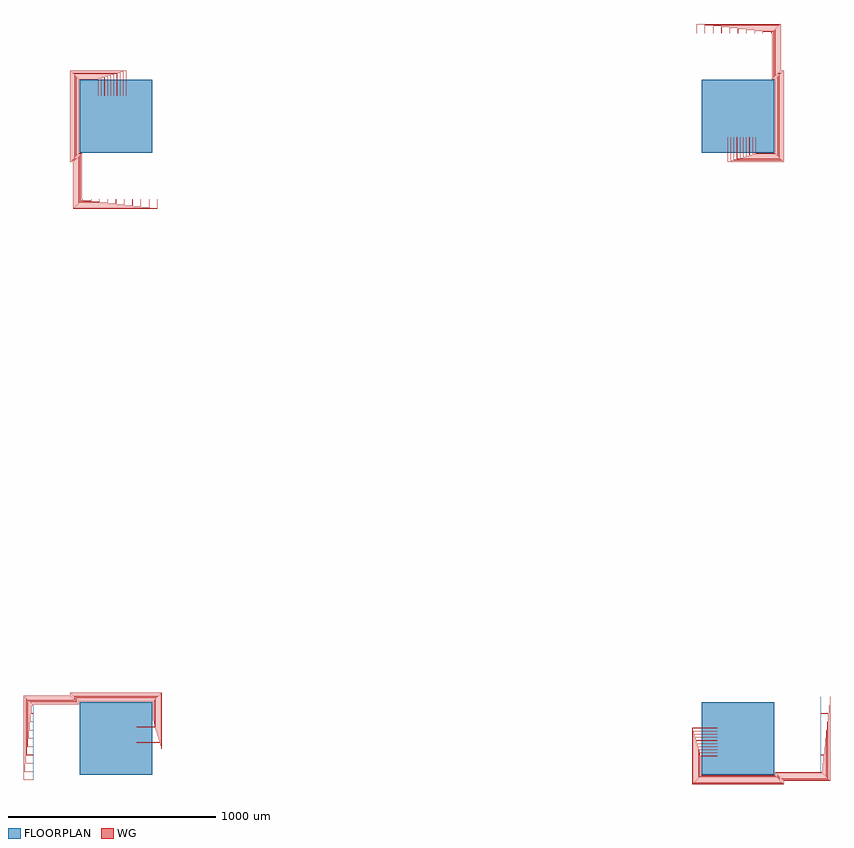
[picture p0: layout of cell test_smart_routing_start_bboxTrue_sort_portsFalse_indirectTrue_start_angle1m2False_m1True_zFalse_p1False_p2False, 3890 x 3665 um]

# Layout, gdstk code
import gdstk
lib = gdstk.Library(unit=1e-6, precision=1e-09)
def R(c, l, rs):  # rectangles x0, y0, x1, y1
    for r in rs: c.add(gdstk.rectangle(r[:2], r[2:], *l))
def P(c, l, *ps):  # polygons
    for p in ps: c.add(gdstk.Polygon(p, *l))
WG = (1, 0)
FLOORPLAN = (10, 0)

test_smart_routing_start = lib.new_cell('test_smart_routing_start_bboxTrue_sort_portsFalse_indirectTrue_start_angle1m2False_m1True_zFalse_p1False_p2False')
P(test_smart_routing_start, WG, [(-445,-200.25),(-445,205.25),(-220,205.25),(-220,220),(220,220),(220,-50.25),(100,-50.25),(100,-49.75),(219.5,-49.75),(219.5,219.5),(-219.5,219.5),(-219.5,204.75),(-444.5,204.75),(-444.5,-199.75),(-400,-199.75),(-400,-200.25)],
  [(-440.5,-160.25),(-440.5,200.75),(-215.5,200.75),(-215.5,215.5),(215.5,215.5),(215.5,-35.25),(100,-35.25),(100,-34.75),(215,-34.75),(215,215),(-215,215),(-215,200.25),(-440,200.25),(-440,-159.75),(-400,-159.75),(-400,-160.25)],
  [(-436,-120.25),(-436,196.25),(-211,196.25),(-211,211),(211,211),(211,-20.25),(100,-20.25),(100,-19.75),(210.5,-19.75),(210.5,210.5),(-210.5,210.5),(-210.5,195.75),(-435.5,195.75),(-435.5,-119.75),(-400,-119.75),(-400,-120.25)],
  [(-431.5,-80.25),(-431.5,191.75),(-206.5,191.75),(-206.5,206.5),(206.5,206.5),(206.5,-5.25),(100,-5.25),(100,-4.75),(206,-4.75),(206,206),(-206,206),(-206,191.25),(-431,191.25),(-431,-79.75),(-400,-79.75),(-400,-80.25)],
  [(-427,-40.25),(-427,187.25),(-202,187.25),(-202,202),(202,202),(202,9.75),(100,9.75),(100,10.25),(201.5,10.25),(201.5,201.5),(-201.5,201.5),(-201.5,186.75),(-426.5,186.75),(-426.5,-39.75),(-400,-39.75),(-400,-40.25)],
  [(-422.5,-0.25),(-422.5,182.75),(-197.5,182.75),(-197.5,197.5),(197.5,197.5),(197.5,24.75),(100,24.75),(100,25.25),(197,25.25),(197,197),(-197,197),(-197,182.25),(-422,182.25),(-422,0.25),(-400,0.25),(-400,-0.25)],
  [(-418,39.75),(-418,178.25),(-193,178.25),(-193,193),(193,193),(193,39.75),(100,39.75),(100,40.25),(192.5,40.25),(192.5,192.5),(-192.5,192.5),(-192.5,177.75),(-417.5,177.75),(-417.5,40.25),(-400,40.25),(-400,39.75)],
  [(100,54.75),(100,55.25),(188,55.25),(188,188),(-188,188),(-188,173.25),(-413,173.25),(-413,80.25),(-400,80.25),(-400,79.75),(-413.5,79.75),(-413.5,173.75),(-188.5,173.75),(-188.5,188.5),(188.5,188.5),(188.5,54.75)],
  [(100,69.75),(100,70.25),(183.5,70.25),(183.5,183.5),(-183.5,183.5),(-183.5,168.75),(-408.5,168.75),(-408.5,120.25),(-400,120.25),(-400,119.75),(-409,119.75),(-409,169.25),(-184,169.25),(-184,184),(184,184),(184,69.75)],
  [(100,84.75),(100,85.25),(179,85.25),(179,179),(-179,179),(-179,164.25),(-404,164.25),(-404,160.25),(-400,160.25),(-400,159.75),(-404.5,159.75),(-404.5,164.75),(-179.5,164.75),(-179.5,179.5),(179.5,179.5),(179.5,84.75)],
  [(-205.25,2555),(-205.25,2780),(-220,2780),(-220,3220),(50.25,3220),(50.25,3100),(49.75,3100),(49.75,3219.5),(-219.5,3219.5),(-219.5,2780.5),(-204.75,2780.5),(-204.75,2555.5),(199.75,2555.5),(199.75,2600),(200.25,2600),(200.25,2555)],
  [(-200.75,2559.5),(-200.75,2784.5),(-215.5,2784.5),(-215.5,3215.5),(35.25,3215.5),(35.25,3100),(34.75,3100),(34.75,3215),(-215,3215),(-215,2785),(-200.25,2785),(-200.25,2560),(159.75,2560),(159.75,2600),(160.25,2600),(160.25,2559.5)],
  [(-196.25,2564),(-196.25,2789),(-211,2789),(-211,3211),(20.25,3211),(20.25,3100),(19.75,3100),(19.75,3210.5),(-210.5,3210.5),(-210.5,2789.5),(-195.75,2789.5),(-195.75,2564.5),(119.75,2564.5),(119.75,2600),(120.25,2600),(120.25,2564)],
  [(-191.75,2568.5),(-191.75,2793.5),(-206.5,2793.5),(-206.5,3206.5),(5.25,3206.5),(5.25,3100),(4.75,3100),(4.75,3206),(-206,3206),(-206,2794),(-191.25,2794),(-191.25,2569),(79.75,2569),(79.75,2600),(80.25,2600),(80.25,2568.5)],
  [(-187.25,2573),(-187.25,2798),(-202,2798),(-202,3202),(-9.75,3202),(-9.75,3100),(-10.25,3100),(-10.25,3201.5),(-201.5,3201.5),(-201.5,2798.5),(-186.75,2798.5),(-186.75,2573.5),(39.75,2573.5),(39.75,2600),(40.25,2600),(40.25,2573)],
  [(-182.75,2577.5),(-182.75,2802.5),(-197.5,2802.5),(-197.5,3197.5),(-24.75,3197.5),(-24.75,3100),(-25.25,3100),(-25.25,3197),(-197,3197),(-197,2803),(-182.25,2803),(-182.25,2578),(-0.25,2578),(-0.25,2600),(0.25,2600),(0.25,2577.5)],
  [(-178.25,2582),(-178.25,2807),(-193,2807),(-193,3193),(-39.75,3193),(-39.75,3100),(-40.25,3100),(-40.25,3192.5),(-192.5,3192.5),(-192.5,2807.5),(-177.75,2807.5),(-177.75,2582.5),(-40.25,2582.5),(-40.25,2600),(-39.75,2600),(-39.75,2582)],
  [(-173.75,2586.5),(-173.75,2811.5),(-188.5,2811.5),(-188.5,3188.5),(-54.75,3188.5),(-54.75,3100),(-55.25,3100),(-55.25,3188),(-188,3188),(-188,2812),(-173.25,2812),(-173.25,2587),(-80.25,2587),(-80.25,2600),(-79.75,2600),(-79.75,2586.5)],
  [(-169.25,2591),(-169.25,2816),(-184,2816),(-184,3184),(-69.75,3184),(-69.75,3100),(-70.25,3100),(-70.25,3183.5),(-183.5,3183.5),(-183.5,2816.5),(-168.75,2816.5),(-168.75,2591.5),(-120.25,2591.5),(-120.25,2600),(-119.75,2600),(-119.75,2591)],
  [(-164.75,2595.5),(-164.75,2820.5),(-179.5,2820.5),(-179.5,3179.5),(-84.75,3179.5),(-84.75,3100),(-85.25,3100),(-85.25,3179),(-179,3179),(-179,2821),(-164.25,2821),(-164.25,2596),(-160.25,2596),(-160.25,2600),(-159.75,2600),(-159.75,2595.5)],
  [(2780,-220),(2780,50.25),(2900,50.25),(2900,49.75),(2780.5,49.75),(2780.5,-219.5),(3219.5,-219.5),(3219.5,-204.75),(3444.5,-204.75),(3444.5,199.75),(3400,199.75),(3400,200.25),(3445,200.25),(3445,-205.25),(3220,-205.25),(3220,-220)],
  [(2784.5,-215.5),(2784.5,35.25),(2900,35.25),(2900,34.75),(2785,34.75),(2785,-215),(3215,-215),(3215,-200.25),(3440,-200.25),(3440,159.75),(3400,159.75),(3400,160.25),(3440.5,160.25),(3440.5,-200.75),(3215.5,-200.75),(3215.5,-215.5)],
  [(2789,-211),(2789,20.25),(2900,20.25),(2900,19.75),(2789.5,19.75),(2789.5,-210.5),(3210.5,-210.5),(3210.5,-195.75),(3435.5,-195.75),(3435.5,119.75),(3400,119.75),(3400,120.25),(3436,120.25),(3436,-196.25),(3211,-196.25),(3211,-211)],
  [(2793.5,-206.5),(2793.5,5.25),(2900,5.25),(2900,4.75),(2794,4.75),(2794,-206),(3206,-206),(3206,-191.25),(3431,-191.25),(3431,79.75),(3400,79.75),(3400,80.25),(3431.5,80.25),(3431.5,-191.75),(3206.5,-191.75),(3206.5,-206.5)],
  [(2798,-202),(2798,-9.75),(2900,-9.75),(2900,-10.25),(2798.5,-10.25),(2798.5,-201.5),(3201.5,-201.5),(3201.5,-186.75),(3426.5,-186.75),(3426.5,39.75),(3400,39.75),(3400,40.25),(3427,40.25),(3427,-187.25),(3202,-187.25),(3202,-202)],
  [(2802.5,-197.5),(2802.5,-24.75),(2900,-24.75),(2900,-25.25),(2803,-25.25),(2803,-197),(3197,-197),(3197,-182.25),(3422,-182.25),(3422,-0.25),(3400,-0.25),(3400,0.25),(3422.5,0.25),(3422.5,-182.75),(3197.5,-182.75),(3197.5,-197.5)],
  [(2807,-193),(2807,-39.75),(2900,-39.75),(2900,-40.25),(2807.5,-40.25),(2807.5,-192.5),(3192.5,-192.5),(3192.5,-177.75),(3417.5,-177.75),(3417.5,-40.25),(3400,-40.25),(3400,-39.75),(3418,-39.75),(3418,-178.25),(3193,-178.25),(3193,-193)],
  [(2811.5,-188.5),(2811.5,-54.75),(2900,-54.75),(2900,-55.25),(2812,-55.25),(2812,-188),(3188,-188),(3188,-173.25),(3413,-173.25),(3413,-80.25),(3400,-80.25),(3400,-79.75),(3413.5,-79.75),(3413.5,-173.75),(3188.5,-173.75),(3188.5,-188.5)],
  [(2816,-184),(2816,-69.75),(2900,-69.75),(2900,-70.25),(2816.5,-70.25),(2816.5,-183.5),(3183.5,-183.5),(3183.5,-168.75),(3408.5,-168.75),(3408.5,-120.25),(3400,-120.25),(3400,-119.75),(3409,-119.75),(3409,-169.25),(3184,-169.25),(3184,-184)],
  [(2820.5,-179.5),(2820.5,-84.75),(2900,-84.75),(2900,-85.25),(2821,-85.25),(2821,-179),(3179,-179),(3179,-164.25),(3404,-164.25),(3404,-160.25),(3400,-160.25),(3400,-159.75),(3404.5,-159.75),(3404.5,-164.75),(3179.5,-164.75),(3179.5,-179.5)],
  [(2949.75,2780),(2949.75,2900),(2950.25,2900),(2950.25,2780.5),(3219.5,2780.5),(3219.5,3219.5),(3204.75,3219.5),(3204.75,3444.5),(2800.25,3444.5),(2800.25,3400),(2799.75,3400),(2799.75,3445),(3205.25,3445),(3205.25,3220),(3220,3220),(3220,2780)],
  [(2964.75,2784.5),(2964.75,2900),(2965.25,2900),(2965.25,2785),(3215,2785),(3215,3215),(3200.25,3215),(3200.25,3440),(2840.25,3440),(2840.25,3400),(2839.75,3400),(2839.75,3440.5),(3200.75,3440.5),(3200.75,3215.5),(3215.5,3215.5),(3215.5,2784.5)],
  [(2979.75,2789),(2979.75,2900),(2980.25,2900),(2980.25,2789.5),(3210.5,2789.5),(3210.5,3210.5),(3195.75,3210.5),(3195.75,3435.5),(2880.25,3435.5),(2880.25,3400),(2879.75,3400),(2879.75,3436),(3196.25,3436),(3196.25,3211),(3211,3211),(3211,2789)],
  [(2994.75,2793.5),(2994.75,2900),(2995.25,2900),(2995.25,2794),(3206,2794),(3206,3206),(3191.25,3206),(3191.25,3431),(2920.25,3431),(2920.25,3400),(2919.75,3400),(2919.75,3431.5),(3191.75,3431.5),(3191.75,3206.5),(3206.5,3206.5),(3206.5,2793.5)],
  [(3009.75,2798),(3009.75,2900),(3010.25,2900),(3010.25,2798.5),(3201.5,2798.5),(3201.5,3201.5),(3186.75,3201.5),(3186.75,3426.5),(2960.25,3426.5),(2960.25,3400),(2959.75,3400),(2959.75,3427),(3187.25,3427),(3187.25,3202),(3202,3202),(3202,2798)],
  [(3024.75,2802.5),(3024.75,2900),(3025.25,2900),(3025.25,2803),(3197,2803),(3197,3197),(3182.25,3197),(3182.25,3422),(3000.25,3422),(3000.25,3400),(2999.75,3400),(2999.75,3422.5),(3182.75,3422.5),(3182.75,3197.5),(3197.5,3197.5),(3197.5,2802.5)],
  [(3039.75,2807),(3039.75,2900),(3040.25,2900),(3040.25,2807.5),(3192.5,2807.5),(3192.5,3192.5),(3177.75,3192.5),(3177.75,3417.5),(3040.25,3417.5),(3040.25,3400),(3039.75,3400),(3039.75,3418),(3178.25,3418),(3178.25,3193),(3193,3193),(3193,2807)],
  [(3054.75,2811.5),(3054.75,2900),(3055.25,2900),(3055.25,2812),(3188,2812),(3188,3188),(3173.25,3188),(3173.25,3413),(3080.25,3413),(3080.25,3400),(3079.75,3400),(3079.75,3413.5),(3173.75,3413.5),(3173.75,3188.5),(3188.5,3188.5),(3188.5,2811.5)],
  [(3069.75,2816),(3069.75,2900),(3070.25,2900),(3070.25,2816.5),(3183.5,2816.5),(3183.5,3183.5),(3168.75,3183.5),(3168.75,3408.5),(3120.25,3408.5),(3120.25,3400),(3119.75,3400),(3119.75,3409),(3169.25,3409),(3169.25,3184),(3184,3184),(3184,2816)],
  [(3084.75,2820.5),(3084.75,2900),(3085.25,2900),(3085.25,2821),(3179,2821),(3179,3179),(3164.25,3179),(3164.25,3404),(3160.25,3404),(3160.25,3400),(3159.75,3400),(3159.75,3404.5),(3164.75,3404.5),(3164.75,3179.5),(3179.5,3179.5),(3179.5,2820.5)])
R(test_smart_routing_start, FLOORPLAN, [(-175,-175,175,175), (2825,-175,3175,175), (-175,2825,175,3175), (2825,2825,3175,3175)])
P(test_smart_routing_start, FLOORPLAN, [(-400,-200),(-400,160),(-400,160),(-400,-200)],
  [(-160,2600),(-160,2600),(200,2600),(200,2600)],
  [(3400,-160),(3400,200),(3400,200),(3400,-160)],
  [(2800,3400),(2800,3400),(3160,3400),(3160,3400)])

lib.write_gds('test_smart_routing_start_bboxTrue_sort_portsFalse_indirectTrue_start_angle1m2False_m1True_zFalse_p1False_p2False.gds')
